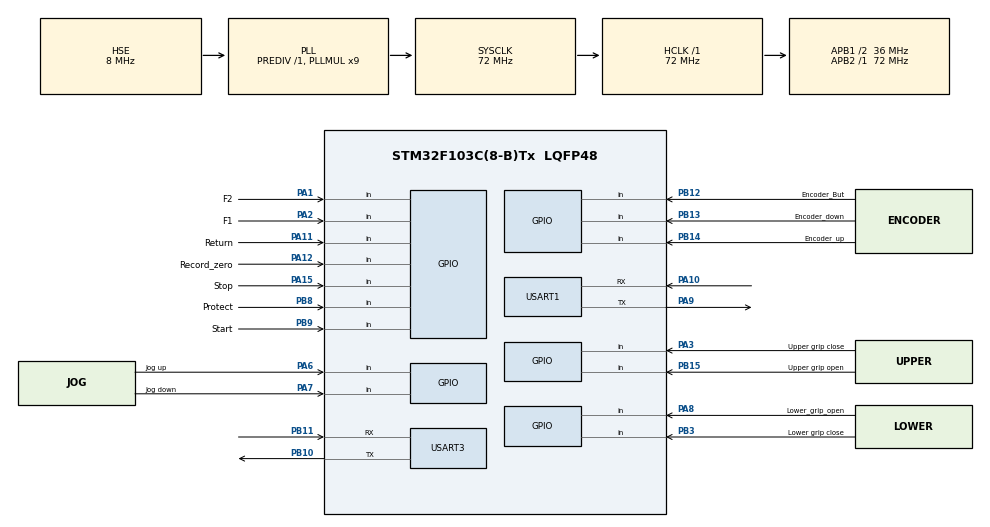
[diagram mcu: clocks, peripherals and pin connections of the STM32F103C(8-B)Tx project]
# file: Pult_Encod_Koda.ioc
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Dma.Request0=TIM4_UP
Dma.Request1=TIM4_CH1
Dma.TIM4_CH1.1.Direction=DMA_PERIPH_TO_MEMORY
Dma.TIM4_CH1.1.Instance=DMA1_Channel1
Dma.TIM4_CH1.1.MemDataAlignment=DMA_MDATAALIGN_HALFWORD
Dma.TIM4_CH1.1.MemInc=DMA_MINC_ENABLE
Dma.TIM4_CH1.1.Mode=DMA_CIRCULAR
Dma.TIM4_CH1.1.PeriphDataAlignment=DMA_PDATAALIGN_HALFWORD
Dma.TIM4_CH1.1.PeriphInc=DMA_PINC_DISABLE
Dma.TIM4_CH1.1.Priority=DMA_PRIORITY_LOW
Dma.TIM4_UP.0.Direction=DMA_PERIPH_TO_MEMORY
Dma.TIM4_UP.0.Instance=DMA1_Channel7
Dma.TIM4_UP.0.MemDataAlignment=DMA_MDATAALIGN_HALFWORD
Dma.TIM4_UP.0.MemInc=DMA_MINC_ENABLE
Dma.TIM4_UP.0.Mode=DMA_CIRCULAR
Dma.TIM4_UP.0.PeriphDataAlignment=DMA_PDATAALIGN_HALFWORD
Dma.TIM4_UP.0.PeriphInc=DMA_PINC_DISABLE
Dma.TIM4_UP.0.Priority=DMA_PRIORITY_LOW
Mcu.Family=STM32F1
Mcu.Name=STM32F103C(8-B)Tx
Mcu.Package=LQFP48
NVIC.DMA1_Channel1_IRQn=true\:0\:0\:false\:false\:true\:false\:true\:true
NVIC.DMA1_Channel7_IRQn=true\:0\:0\:false\:false\:true\:false\:true\:true
NVIC.PriorityGroup=NVIC_PRIORITYGROUP_4
NVIC.TIM3_IRQn=true\:0\:0\:false\:false\:true\:true\:true\:true
NVIC.USART1_IRQn=true\:1\:0\:true\:false\:true\:true\:true\:true
NVIC.USART3_IRQn=true\:1\:0\:true\:false\:true\:true\:true\:true
PA1.GPIO_Label=F2
PA1.Signal=GPIO_Input
PA10.Mode=Asynchronous
PA10.Signal=USART1_RX
PA11.GPIO_Label=Return
PA11.Signal=GPIO_Input
PA12.GPIO_Label=Record_zero
PA12.Signal=GPIO_Input
PA13.Mode=Serial_Wire
PA13.Signal=SYS_JTMS-SWDIO
PA14.Mode=Serial_Wire
PA14.Signal=SYS_JTCK-SWCLK
PA15.GPIO_Label=Stop
PA15.Signal=GPIO_Input
PA2.GPIO_Label=F1
PA2.Signal=GPIO_Input
PA3.GPIO_Label=Upper grip close
PA3.GPIO_Mode=GPIO_MODE_INPUT
PA3.GPIO_PuPd=GPIO_PULLUP
PA3.Signal=GPIO_Input
PA6.GPIO_Label=Jog up
PA6.GPIO_Mode=GPIO_MODE_INPUT
PA6.GPIO_PuPd=GPIO_PULLUP
PA6.Signal=GPIO_Input
PA7.GPIO_Label=Jog down
PA7.GPIO_Mode=GPIO_MODE_INPUT
PA7.GPIO_PuPd=GPIO_PULLUP
PA7.Signal=GPIO_Input
PA8.GPIO_Label=Lower_grip_open
PA8.GPIO_Mode=GPIO_MODE_INPUT
PA8.GPIO_PuPd=GPIO_PULLUP
PA8.Signal=GPIO_Input
PA9.Mode=Asynchronous
PA9.Signal=USART1_TX
PB10.Mode=Asynchronous
PB10.Signal=USART3_TX
PB11.Mode=Asynchronous
PB11.Signal=USART3_RX
PB12.GPIO_Label=Encoder_But
PB12.GPIO_PuPd=GPIO_PULLUP
PB12.Signal=GPIO_Input
PB13.GPIO_Label=Encoder_down
PB13.Signal=GPIO_Input
PB14.GPIO_Label=Encoder_up
PB14.Signal=GPIO_Input
PB15.GPIO_Label=Upper grip open
PB15.GPIO_Mode=GPIO_MODE_INPUT
PB15.GPIO_PuPd=GPIO_PULLUP
PB15.Signal=GPIO_Input
PB3.GPIO_Label=Lower grip close
PB3.GPIO_Mode=GPIO_MODE_INPUT
PB3.GPIO_PuPd=GPIO_PULLUP
PB3.Signal=GPIO_Input
PB8.GPIO_Label=Protect
PB8.Signal=GPIO_Input
PB9.GPIO_Label=Start
PB9.Signal=GPIO_Input
PD0-OSC_IN.Mode=HSE-External-Oscillator
PD0-OSC_IN.Signal=RCC_OSC_IN
PD1-OSC_OUT.Mode=HSE-External-Oscillator
PD1-OSC_OUT.Signal=RCC_OSC_OUT
ProjectManager.HeapSize=0x200
ProjectManager.StackSize=0x400
ProjectManager.TargetToolchain=STM32CubeIDE
RCC.AHBFreq_Value=72000000
RCC.APB1CLKDivider=RCC_HCLK_DIV2
RCC.APB1Freq_Value=36000000
RCC.APB1TimFreq_Value=72000000
RCC.APB2Freq_Value=72000000
RCC.APB2TimFreq_Value=72000000
RCC.HCLKFreq_Value=72000000
RCC.PLLMUL=RCC_PLL_MUL9
RCC.PLLSourceVirtual=RCC_PLLSOURCE_HSE
RCC.SYSCLKFreq_VALUE=72000000
RCC.SYSCLKSource=RCC_SYSCLKSOURCE_PLLCLK
RCC.USBFreq_Value=72000000
TIM3.Period=49
TIM3.Prescaler=71
TIM4.Channel-PWM\ Generation1\ No\ Output=TIM_CHANNEL_1
TIM4.Period=499
TIM4.Prescaler=7199
TIM4.Pulse-PWM\ Generation1\ No\ Output=250
USART1.VirtualMode=VM_ASYNC
USART3.VirtualMode=VM_ASYNC
VP_TIM3_VS_ClockSourceINT.Mode=Internal
VP_TIM4_VS_ClockSourceINT.Mode=Internal
VP_TIM4_VS_no_output1.Mode=PWM Generation1 No Output
board=custom

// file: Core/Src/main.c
/* USER CODE BEGIN Header */
/**
 ******************************************************************************
 */
/* USER CODE END Header */
#include "main.h"

/* USER CODE BEGIN Includes */
#include "mb.h"
#include "mbport.h"
#include "mt_port.h"
#include "tjc_usart_hmi.h"
#include <stdbool.h>
#include <math.h>
#include <limits.h>
#define SIZE 1
/* USER CODE END Includes */

/* USER CODE BEGIN PD */
typedef enum {
    STATE_POWER_ON,
    STATE_SEND_TO_SCREEN,
    STATE_SCREEN_POLLING,
    STATE_ADDT_SEND_CMD,
    STATE_ADDT_WAIT_FE,
    STATE_ADDT_SEND_DATA,
    STATE_ADDT_WAIT_DATA_DONE
} SystemState_t;

#define HISTORY_LEN 320

#define TJC_CMD_HEADER_0  0x55
#define TJC_CMD_HEADER_1  0xAA

// --- ВОЗВРАЩАЕМ ИСХОДНУЮ АДРЕСАЦИЮ ---
#define REG_INPUT_START 0x4000
#define REG_INPUT_NREGS 3

#define REG_HOLDING_START   0x1000
#define REG_HOLDING_NREGS   8

#define REG_DISPLAY_START   0x2000
#define REG_DISPLAY_NREGS   1
// -------------------------------------

#define PORT_A_MASK  0x99CE
#define PORT_A_INPUT_MASK  (PORT_A_MASK & ~((1 << 6) | (1 << 7)))
#define PORT_B_MASK  0xF308

#define ENCODER_A_BIT   (1 << 14)
#define ENCODER_B_BIT   (1 << 13)
#define ENCODER_BTN_BIT (1 << 12)
#define ENCODER_MASK    (ENCODER_A_BIT | ENCODER_B_BIT)
#define PORT_B_BUTTON_MASK  (PORT_B_MASK & ~ENCODER_MASK)

#define GRAPH_WIDTH 320

// Антидребезг кнопок (мс). Опрос портов TIM4/DMA — 1 кГц
#define DEBOUNCE_MS 20

/* === КРИТИЧЕСКИЕ СЕКЦИИ: НЕ ИСПОЛЬЗОВАТЬ устаревшие макросы!
   Раньше здесь были CRITICAL_SECTION_ENTER/EXIT через голый
   __disable_irq/__enable_irq — они ломались при вложенных вызовах
   (второй EXIT включал IRQ раньше времени). Для защиты разделяемых
   данных ISR ↔ основной цикл используйте:
     #include "mt_port.h"
     EnterCriticalSection();   // учитывает вложенность по PRIMASK
     ...
     ExitCriticalSection();
   Реализация: Modules/modbus/port/mt_port.c. */

// === ВОЛАТИЛЬНЫЕ ПЕРЕМЕННЫЕ (общие между прерываниями и основным циклом) ===
static volatile int16_t fast_cmd_value = 0;
static volatile uint8_t fast_btn_pressed = 0;
static volatile uint8_t encoder_btn_pressed = 0;
/* USER CODE END PD */

/* USER CODE BEGIN PM */
typedef union {
    float f;
    uint32_t u32;
    struct {
        uint16_t lo;
        uint16_t hi;
    } words;
} FloatUnion_t;
/* USER CODE END PM */

TIM_HandleTypeDef htim3;
TIM_HandleTypeDef htim4;
DMA_HandleTypeDef hdma_tim4_up;
DMA_HandleTypeDef hdma_tim4_ch1;

UART_HandleTypeDef huart1;
UART_HandleTypeDef huart3;

/* USER CODE BEGIN PV */
static volatile uint8_t tjc_visible_flags = 0x07; // Биты 0,1,2 = c0,c1,c2 (все видны по умолчанию)
static uint8_t graph_prev_visible[3] = {0, 0, 0};

// История для 3-х графиков
static float graph_history[3][HISTORY_LEN];
static uint16_t graph_head[3] = {0, 0, 0};
static uint16_t graph_count[3] = {0, 0, 0};

// Машинная логика addt
static uint8_t redraw_queue = 0;
static int8_t current_redraw_ch = -1;
static uint8_t addt_busy = 0;

/* These flags are set only by ProcessTjcRx(), which is called from the main
   loop. The USART3 IRQ only appends bytes to the ring buffer. */
static uint8_t tjc_addt_fe_received = 0;
static uint8_t tjc_addt_fd_received = 0;
static uint8_t tjc_rx_parser_state = 0;
static uint8_t tjc_rx_command_channel = 0;

// Глобальные zoom и offset (перенесены из функции)
static float zoom[3] = {1.0f, 1.0f, 1.0f};
static float offset[3] = {0.0f, 0.0f, 0.0f};

volatile uint16_t input_buffer_A[SIZE];
volatile uint16_t input_buffer_B[SIZE];

uint16_t last_portA = 0;
uint16_t last_portB = 0;

static uint8_t encoder_prev_state = 0;
static uint8_t encoder_initialized = 0;
static volatile int8_t encoder_value = 0;

/* === ИСПРАВЛЕНИЕ: диагностика пропущенных переходов энкодера.
   Счётчик невалидных transition-кодов (00->11, 01->10, 10->01, 11->00 и т. п.).
   Для JTAG/SWD отладки доступен напрямую как глобальный символ;
   в Modbus не выводится, чтобы не расширять карту регистров. */
volatile uint32_t encoder_error_count = 0U;

static SystemState_t currentState = STATE_POWER_ON;

static volatile uint16_t usRegHoldingBuf[REG_HOLDING_NREGS];

// === Float переменные для Modbus (IEEE 754, 2 регистра на float) ===
static volatile FloatUnion_t holdingFloat0;
static volatile FloatUnion_t holdingFloat1;
static volatile FloatUnion_t holdingFloat2;
static volatile FloatUnion_t holdingFloat3;

static volatile uint16_t display_value = 0;

/* === Фиксация результата испытания: L и D в момент максимума силы ===
   Каналы (см. tools/modbus_debug/README.md):
     0x1000-01 (holdingFloat0) = перемещение L
     0x1002-03 (holdingFloat1) = сила F
     0x1004-05 (holdingFloat2) = деформация D
   Логика: пока сила растёт — запоминаем максимум и соответствующие ему
   L и D. Как только сила упала после значимого максимума (срыв/разрыв) —
   результат фиксируется и на экран больше не обновляется. */
/* Порог «испытание идёт». Раньше был 0.5 — при разрыве тонких материалов
   (пик F = 0.2) срыв детектировался верно, но фиксация блокировалась этим
   порогом, и экран продолжал показывать текущие L/D при F = 0. Порог снижен
   до уровня, заведомо превышающего шум Тензо датчика у нуля. */
#define F_PEAK_MIN_FORCE   0.02f    /* ниже — испытание не началось, пик не считаем */
#define F_PEAK_DROP_FRAC   0.02f    /* спад на 2% от максимума = срыв */
/* Нижняя граница допуска срыва. Раньше была 0.05 — при малой силе она
   раздувала «плато» у максимума: при Fmax = 0.2 допуск составлял 25% пика,
   и L/D продолжали обновляться ещё ~20% пути после разрыва. */
#define F_PEAK_DROP_ABS    0.005f   /* ...но не менее этой абсолютной величины */

static volatile float   f_peak_value   = 0.0f;  /* максимум силы */
static volatile float   f_peak_l_value = 0.0f;  /* перемещение при максимуме силы */
static volatile float   f_peak_d_value = 0.0f;  /* деформация при максимуме силы */
static volatile uint8_t f_peak_locked  = 0U;    /* 1 = результат зафиксирован */
/* USER CODE END PV */

void SystemClock_Config(void);
static void MX_GPIO_Init(void);
static void MX_DMA_Init(void);
static void MX_USART3_UART_Init(void);
static void MX_USART1_UART_Init(void);
static void MX_TIM4_Init(void);
static void MX_TIM3_Init(void);
/* USER CODE BEGIN PFP */
static void TjcCommunicationInit(void);
extern void intToStr(int num, char* str);
extern void uart_send_char(char ch);
extern void uart_send_string(char* str);
extern void ProcessButtons(void);
extern void ProcessEncoder(uint16_t current_B_raw);
extern uint8_t tjc_flush_tx(void);
extern uint8_t tjc_tx_is_busy(void);
extern void tjc_discard_pending_tx(void);

/*
 * The RX ring buffer has exactly one consumer.  TJC control frames are
 * decoded here, while 0xFE/0xFD answers for addt are retained as flags.
 * Consequently, an interface command that arrives while addt is pending is
 * no longer discarded byte by byte by a second consumer.
 */
/*
 * Reset the complete software RX state before arming USART3. It is called
 * once after MX_USART3_UART_Init() and may be reused after a deliberate TJC
 * communication recovery.
 */
static void TjcCommunicationInit(void)
{
    initRingBuffer();
    tjc_rx_parser_state = 0U;
    tjc_rx_command_channel = 0U;
    tjc_addt_fe_received = 0U;
    tjc_addt_fd_received = 0U;

    /* HAL_UART_RxCpltCallback() rearms this one-byte reception continuously. */
    if (HAL_UART_Receive_IT(&TJC_UART, RxBuffer, 1U) != HAL_OK) {
        Error_Handler();
    }
}

static void ProcessTjcRx(void)
{
    while (getRingBufferLength() != 0U) {
        const uint8_t byte = read1ByteFromRingBuffer(0U);
        deleteRingBuffer(1U);

        switch (tjc_rx_parser_state) {
        case 0U:
            if (byte == TJC_CMD_HEADER_0) {
                tjc_rx_parser_state = 1U;
            } else if (byte == 0xFEU) {
                tjc_addt_fe_received = 1U;
            } else if (byte == 0xFDU) {
                tjc_addt_fd_received = 1U;
            }
            break;

        case 1U:
            if (byte == TJC_CMD_HEADER_1) {
                tjc_rx_parser_state = 2U;
            } else if (byte == TJC_CMD_HEADER_0) {
                /* It can be the first byte of a new frame. */
                tjc_rx_parser_state = 1U;
            } else {
                tjc_rx_parser_state = 0U;
                if (byte == 0xFEU) {
                    tjc_addt_fe_received = 1U;
                } else if (byte == 0xFDU) {
                    tjc_addt_fd_received = 1U;
                }
            }
            break;

        case 2U:
            tjc_rx_command_channel = byte;
            tjc_rx_parser_state = 3U;
            break;

        default: /* tjc_rx_parser_state == 3 */
            if (tjc_rx_command_channel <= 2U) {
                const uint8_t mask =
                    (uint8_t)(1U << tjc_rx_command_channel);
                const uint8_t old_flags = tjc_visible_flags;

                if (byte != 0U) {
                    tjc_visible_flags |= mask;
                    if ((old_flags & mask) == 0U) {
                        redraw_queue |= mask;
                    }
                } else {
                    tjc_visible_flags &= (uint8_t)~mask;
                }
            }
            tjc_rx_parser_state = 0U;
            break;
        }
    }
}

static float SanitiseFloat(float value)
{
    return isfinite(value) ? value : 0.0f;
}

/* Виджетам TJC (x0..x2) соответствует ТРИ знака после запятой, поэтому на
   экран уходят тысячные доли (value * TJC_VALUE_SCALE).
   ВАЖНО: число знаков у виджета и этот множитель обязаны совпадать, иначе
   экран показывает значения, отличающиеся в 10/100/1000 раз. Проверено на
   стенде (V3.0.HMI): при scale=10 экран делил val на 1000, то есть виджеты
   имели vvs1=3 — L=10000 отображалось как «100.000».
   Меняется в одном месте: 1 знак -> 10, 2 знака -> 100, 3 знака -> 1000.
   Проверка масштаба: записать L=10000 / F=1000 / D=100 и увидеть на экране
   «10000.000» / «1000.000» / «100.000». */
#define TJC_VALUE_DECIMALS  3
#if (TJC_VALUE_DECIMALS == 3)
#define TJC_VALUE_SCALE     (1000.0f)
#elif (TJC_VALUE_DECIMALS == 2)
#define TJC_VALUE_SCALE     (100.0f)
#else
#define TJC_VALUE_SCALE     (10.0f)
#endif

static int FloatToTjcValue(float value)
{
    if (!isfinite(value)) {
        return 0;
    }
    if (value >= ((float)INT_MAX / TJC_VALUE_SCALE)) {
        return INT_MAX;
    }
    if (value <= ((float)INT_MIN / TJC_VALUE_SCALE)) {
        return INT_MIN;
    }
    return (int)(value * TJC_VALUE_SCALE);
}

static uint8_t GraphValueToByte(float value, float channel_offset,
                                float channel_zoom, int channel)
{
    if (!isfinite(value) || !isfinite(channel_offset) ||
        !isfinite(channel_zoom)) {
        return 128U;
    }

    const float scaled = (value - channel_offset) * channel_zoom;
    if (scaled >= (float)(127 - channel)) {
        return 255U;
    }
    if (scaled <= (float)(-128 - channel)) {
        return 0U;
    }
    return (uint8_t)(128 + (int)scaled + channel);
}
/* Записать float в два регистра (старшее слово первым) — для диагностики */
static void PeakFloatToRegs(uint16_t *dst, float value)
{
    FloatUnion_t fu;
    fu.f = SanitiseFloat(value);
    dst[0] = (uint16_t)(fu.u32 >> 16);
    dst[1] = (uint16_t)(fu.u32 & 0xFFFFU);
}

/* Отслеживание максимума силы и фиксация L/D в точке максимума.
   Вызывается в ГЛАВНОМ цикле (чаще, чем обновление экрана), чтобы не
   пропустить момент срыва. */
static void TrackForcePeak(void)
{
    const float current_f = SanitiseFloat(holdingFloat1.f);  /* сила, 0x1002 */
    const float current_l = SanitiseFloat(holdingFloat0.f);  /* перемещение, 0x1000 */
    const float current_d = SanitiseFloat(holdingFloat2.f);  /* деформация, 0x1004 */

    if (f_peak_locked != 0U) {
        return;                     /* результат уже зафиксирован */
    }

    if (current_f > f_peak_value) {
        f_peak_value = current_f;   /* новый максимум силы */
    }

    /* L и D берём из точки максимума. Пока сила удерживается у максимума
       в пределах допуска срыва — продолжаем обновлять L/D: мастер может
       присылать регистры несколькими кадрами, и тогда значения не
       рассинхронизируются с силой. */
    {
        float drop = f_peak_value * F_PEAK_DROP_FRAC;
        if (drop < F_PEAK_DROP_ABS) {
            drop = F_PEAK_DROP_ABS;
        }

        if (current_f >= (f_peak_value - drop)) {
            f_peak_l_value = current_l;
            f_peak_d_value = current_d;
            return;
        }

        /* Сила упала заметно ниже максимума. Фиксируем ТОЛЬКО если
           испытание реально шло (максимум значимый) — иначе шум у нуля
           замораживал бы экран. */
        if (f_peak_value > F_PEAK_MIN_FORCE) {
            f_peak_locked = 1U;
        }
    }
}

/* Сброс зафиксированного результата — перед новым испытанием */
static void ResetForcePeak(void)
{
    f_peak_value   = 0.0f;
    f_peak_l_value = 0.0f;
    f_peak_d_value = 0.0f;
    f_peak_locked  = 0U;
}

void SwitchTechnology_Logic(void) {
    char txt_buf[12];
    static uint32_t lastSendTime = 0;
    float vals[3] = {
        SanitiseFloat(holdingFloat0.f),
        SanitiseFloat(holdingFloat1.f),
        SanitiseFloat(holdingFloat2.f)
    };
    static uint32_t addt_timeout = 0;

    ProcessButtons();
    (void)eMBPoll();
    ProcessTjcRx();
    TrackForcePeak();   /* фиксация L/D при максимуме силы — до отрисовки */

    switch (currentState) {
        case STATE_POWER_ON:
            lastSendTime = HAL_GetTick();
            currentState = STATE_SEND_TO_SCREEN;
            break;

        case STATE_SEND_TO_SCREEN:
        {
            if (tjc_tx_is_busy()) break;
            uint8_t needs_clear[3] = {0, 0, 0};

            for (int i = 0; i < 3; i++) {
                uint8_t is_visible = (tjc_visible_flags & (1 << i)) ? 1 : 0;

                if (!is_visible && graph_prev_visible[i]) {
                    uart_send_string("cle 1,");
                    intToStr(i, txt_buf);
                    uart_send_string(txt_buf);
                    uart_send_char(0xff); uart_send_char(0xff); uart_send_char(0xff);
                    graph_prev_visible[i] = 0;
                } else if (is_visible && !graph_prev_visible[i]) {
                    graph_prev_visible[i] = 1;
                    // ИСПРАВЛЕНИЕ: при возврате канала на экран перерисовываем всю историю
                    redraw_queue |= (1 << i);
                }

                graph_history[i][graph_head[i]] = vals[i];
                graph_head[i] = (graph_head[i] + 1) % HISTORY_LEN;
                if (graph_count[i] < HISTORY_LEN) graph_count[i]++;

                if (is_visible && graph_count[i] > 2) {
                    float max_val = -1e30f;
                    float min_val = 1e30f;
                    for (int j = 0; j < graph_count[i]; j++) {
                        uint16_t idx = (graph_head[i] - graph_count[i] + j + HISTORY_LEN) % HISTORY_LEN;
                        float h = graph_history[i][idx];
                        if (h > max_val) max_val = h;
                        if (h < min_val) min_val = h;
                    }

                    float amplitude = max_val - min_val;
                    if (amplitude < 0.001f) amplitude = 0.001f;

                    float target_offset = (max_val + min_val) / 2.0f;
                    float target_zoom = 240.0f / amplitude;
                    if (target_zoom < 0.001f) target_zoom = 0.001f;

                    // ИСПРАВЛЕНИЕ: Гистерезис 25% (0.8 и 1.25). Запрещает "съезжать" масштабу по незначительным изменениям.
                    if (target_zoom < zoom[i] * 0.8f || target_zoom > zoom[i] * 1.25f ||
                        target_offset < offset[i] - amplitude * 0.2f ||
                        target_offset > offset[i] + amplitude * 0.2f) {

                        zoom[i] = target_zoom;
                        offset[i] = target_offset;
                        needs_clear[i] = 1;
                    }
                }
            }

            /* После срыва показываем ЗАФИКСИРОВАННЫЙ результат испытания:
               максимум силы и соответствующие ему перемещение L и деформацию D. */
            tjc_send_val("x0", "val", FloatToTjcValue(f_peak_locked ? f_peak_l_value : holdingFloat0.f));
            tjc_send_val("x1", "val", FloatToTjcValue(f_peak_locked ? f_peak_value   : holdingFloat1.f));
            tjc_send_val("x2", "val", FloatToTjcValue(f_peak_locked ? f_peak_d_value : holdingFloat2.f));
            tjc_send_val("x3", "val", FloatToTjcValue(holdingFloat3.f));

            {
                char num_str[6];
                int display_val;
                if (encoder_btn_pressed) display_val = encoder_value;
                else display_val = (int)display_value;
                intToStr(display_val, num_str);
                tjc_send_txt("t9", "txt", num_str);
            }

            for (int i = 0; i < 3; i++) {
                if (!(tjc_visible_flags & (1 << i))) continue;

                if (needs_clear[i]) {
                    if (!addt_busy) {
                        redraw_queue |= (1 << i);
                    }
                    // ИСПРАВЛЕНИЕ: Пока ждёт перерисовки, НЕ ОТПРАВЛЯЕМ add! Иначе будут смешаны масштабы.
                } else {
                    const uint8_t graph_value =
                        GraphValueToByte(vals[i], offset[i], zoom[i], i);

                    uart_send_string("add 1,");
                    intToStr(i, txt_buf);
                    uart_send_string(txt_buf);
                    uart_send_char(',');
                    intToStr((int)graph_value, txt_buf);
                    uart_send_string(txt_buf);
                    uart_send_char(0xff); uart_send_char(0xff); uart_send_char(0xff);
                }
            }

            if (tjc_flush_tx() != 0U) {
                lastSendTime = HAL_GetTick();
                currentState = STATE_SCREEN_POLLING;
            }
            break;
        }

        // --- Неблокирующий процесс addt ---
        case STATE_ADDT_SEND_CMD:
            if (tjc_tx_is_busy()) break;
            /* addt owns the TJC serial stream. Discard normal draw commands
               queued before the state transition; raw graph bytes must not be
               delayed behind them. */
            tjc_discard_pending_tx();
            if (!(tjc_visible_flags & (1 << current_redraw_ch)) || graph_count[current_redraw_ch] == 0) {
                addt_busy = 0;
                currentState = STATE_SCREEN_POLLING;
                break;
            }

            uart_send_string("cle 1,");
            intToStr(current_redraw_ch, txt_buf);
            uart_send_string(txt_buf);
            uart_send_char(0xff); uart_send_char(0xff); uart_send_char(0xff);

            uart_send_string("addt 1,");
            intToStr(current_redraw_ch, txt_buf);
            uart_send_string(txt_buf);
            uart_send_char(',');
            intToStr(graph_count[current_redraw_ch], txt_buf);
            uart_send_string(txt_buf);
            uart_send_char(0xff); uart_send_char(0xff); uart_send_char(0xff);

            tjc_addt_fe_received = 0U;
            tjc_addt_fd_received = 0U;
            if (tjc_flush_tx() != 0U) {
                addt_timeout = HAL_GetTick();
                currentState = STATE_ADDT_WAIT_FE;
            }
            break;

        case STATE_ADDT_WAIT_FE:
            if (tjc_addt_fe_received != 0U) {
                tjc_addt_fe_received = 0U;
                currentState = STATE_ADDT_SEND_DATA;
            } else if ((HAL_GetTick() - addt_timeout) > 200U) {
                addt_busy = 0U;
                currentState = STATE_SCREEN_POLLING;
            }
            break;

        case STATE_ADDT_SEND_DATA:
            if (tjc_tx_is_busy()) break;
            for (int i = 0; i < graph_count[current_redraw_ch]; i++) {
                const uint16_t idx = (uint16_t)((graph_head[current_redraw_ch] -
                    graph_count[current_redraw_ch] + i + HISTORY_LEN) % HISTORY_LEN);
                const uint8_t graph_value = GraphValueToByte(
                    graph_history[current_redraw_ch][idx],
                    offset[current_redraw_ch], zoom[current_redraw_ch],
                    current_redraw_ch);
                uart_send_char((char)graph_value);
            }
            if (tjc_flush_tx() != 0U) {
                addt_timeout = HAL_GetTick();
                currentState = STATE_ADDT_WAIT_DATA_DONE;
            }
            break;

        case STATE_ADDT_WAIT_DATA_DONE:
            if (tjc_tx_is_busy() == 0U) {
                addt_busy = 1U; /* Data has been sent; wait for 0xFD. */
                addt_timeout = HAL_GetTick();
                currentState = STATE_SCREEN_POLLING;
            } else if ((HAL_GetTick() - addt_timeout) > 500U) {
                addt_busy = 0U;
                currentState = STATE_SCREEN_POLLING;
            }
            break;

        // --- Фоновые задачи ---
        case STATE_SCREEN_POLLING:
        {
            if (addt_busy != 0U) {
                if (tjc_addt_fd_received != 0U) {
                    tjc_addt_fd_received = 0U;
                    addt_busy = 0U;
                    lastSendTime = HAL_GetTick();
                } else if ((HAL_GetTick() - addt_timeout) > 1000U) {
                    addt_busy = 0U;
                } else {
                    /* Do not start a normal screen update while addt owns the
                       display buffer, but keep processing TJC RX above. */
                    break;
                }
            }

            if (redraw_queue != 0U) {
                current_redraw_ch = (int8_t)__builtin_ctz((unsigned int)redraw_queue);
                redraw_queue &= (uint8_t)~(1U << current_redraw_ch);
                currentState = STATE_ADDT_SEND_CMD;
                break;
            }

            if ((HAL_GetTick() - lastSendTime) >= 100) {
                currentState = STATE_SEND_TO_SCREEN;
            }
            break;
        }

        default:
            currentState = STATE_POWER_ON;
            break;
    }
}
/* USER CODE END PFP */

int main(void)
{

  /* MCU Configuration--------------------------------------------------------*/

  /* Reset of all peripherals, Initializes the Flash interface and the Systick. */
  HAL_Init();

  /* Configure the system clock */
  SystemClock_Config();

  /* Initialize all configured peripherals */
  MX_GPIO_Init();
  MX_DMA_Init();
  MX_USART3_UART_Init();
  MX_USART1_UART_Init();
  MX_TIM4_Init();
  MX_TIM3_Init();
  /* USER CODE BEGIN 2 */
    MT_PORT_SetTimerModule(&htim3);
    MT_PORT_SetUartModule(&huart1);

    /* USART3 and its NVIC are ready after MX_USART3_UART_Init(). Clear the
       ring buffer and arm RX before the main loop or any TJC TX command. */
    TjcCommunicationInit();

    eMBErrorCode eStatus;
    eStatus = eMBInit(MB_RTU, 0x0A, 0, 115200, MB_PAR_NONE);
    if (eStatus != MB_ENOERR) {
        Error_Handler();
    }
    /* FC17 (Report Slave ID): данные должны быть заданы до eMBEnable(),
       иначе ответ будет синтаксически корректным, но пустым. */
    eStatus = eMBSetSlaveID(0x0A, TRUE, NULL, 0);
    if (eStatus != MB_ENOERR) {
        Error_Handler();
    }
    eStatus = eMBEnable();
    if (eStatus != MB_ENOERR) {
        Error_Handler();
    }

    usRegHoldingBuf[0] = 255;

    /* TIM4 DMA channels are configured by CubeMX in DMA_CIRCULAR mode.
       A length-one transfer captures GPIO IDR at every TIM4 event; it is
       repeated by DMA hardware and must not be restarted from DMA TC IRQ. */
    if (HAL_DMA_Start(&hdma_tim4_up, (uint32_t)&GPIOA->IDR,
                      (uint32_t)input_buffer_A, SIZE) != HAL_OK) {
        Error_Handler();
    }
    if (HAL_DMA_Start(&hdma_tim4_ch1, (uint32_t)&GPIOB->IDR,
                      (uint32_t)input_buffer_B, SIZE) != HAL_OK) {
        Error_Handler();
    }

    /* No transfer-complete interrupt: the circular transfers need no CPU
       service each 1 ms. */
    __HAL_TIM_ENABLE_DMA(&htim4, TIM_DMA_UPDATE);
    __HAL_TIM_ENABLE_DMA(&htim4, TIM_DMA_CC1);

    if (HAL_TIM_Base_Start(&htim4) != HAL_OK) {
        Error_Handler();
    }
  /* USER CODE END 2 */

  /* Infinite loop */
  /* USER CODE BEGIN WHILE */
    while (1) {
        SwitchTechnology_Logic();
    /* USER CODE END WHILE */

    }
}

void SystemClock_Config(void)
{
  RCC_OscInitTypeDef RCC_OscInitStruct = {0};
  RCC_ClkInitTypeDef RCC_ClkInitStruct = {0};

  /** Initializes the RCC Oscillators according to the specified parameters
  * in the RCC_OscInitTypeDef structure.
  */
  RCC_OscInitStruct.OscillatorType = RCC_OSCILLATORTYPE_HSE;
  RCC_OscInitStruct.HSEState = RCC_HSE_ON;
  RCC_OscInitStruct.HSEPredivValue = RCC_HSE_PREDIV_DIV1;
  RCC_OscInitStruct.HSIState = RCC_HSI_ON;
  RCC_OscInitStruct.PLL.PLLState = RCC_PLL_ON;
  RCC_OscInitStruct.PLL.PLLSource = RCC_PLLSOURCE_HSE;
  RCC_OscInitStruct.PLL.PLLMUL = RCC_PLL_MUL9;
  if (HAL_RCC_OscConfig(&RCC_OscInitStruct) != HAL_OK)
  {
    Error_Handler();
  }

  /** Initializes the CPU, AHB and APB buses clocks
  */
  RCC_ClkInitStruct.ClockType = RCC_CLOCKTYPE_HCLK|RCC_CLOCKTYPE_SYSCLK
                              |RCC_CLOCKTYPE_PCLK1|RCC_CLOCKTYPE_PCLK2;
  RCC_ClkInitStruct.SYSCLKSource = RCC_SYSCLKSOURCE_PLLCLK;
  RCC_ClkInitStruct.AHBCLKDivider = RCC_SYSCLK_DIV1;
  RCC_ClkInitStruct.APB1CLKDivider = RCC_HCLK_DIV2;
  RCC_ClkInitStruct.APB2CLKDivider = RCC_HCLK_DIV1;

  if (HAL_RCC_ClockConfig(&RCC_ClkInitStruct, FLASH_LATENCY_2) != HAL_OK)
  {
    Error_Handler();
  }
}

static void MX_TIM3_Init(void)
{

  TIM_ClockConfigTypeDef sClockSourceConfig = {0};
  TIM_MasterConfigTypeDef sMasterConfig = {0};

  htim3.Instance = TIM3;
  htim3.Init.Prescaler = 71;
  htim3.Init.CounterMode = TIM_COUNTERMODE_UP;
  htim3.Init.Period = 49;
  htim3.Init.ClockDivision = TIM_CLOCKDIVISION_DIV1;
  htim3.Init.AutoReloadPreload = TIM_AUTORELOAD_PRELOAD_DISABLE;
  if (HAL_TIM_Base_Init(&htim3) != HAL_OK)
  {
    Error_Handler();
  }
  sClockSourceConfig.ClockSource = TIM_CLOCKSOURCE_INTERNAL;
  if (HAL_TIM_ConfigClockSource(&htim3, &sClockSourceConfig) != HAL_OK)
  {
    Error_Handler();
  }
  sMasterConfig.MasterOutputTrigger = TIM_TRGO_RESET;
  sMasterConfig.MasterSlaveMode = TIM_MASTERSLAVEMODE_DISABLE;
  if (HAL_TIMEx_MasterConfigSynchronization(&htim3, &sMasterConfig) != HAL_OK)
  {
    Error_Handler();
  }

}

static void MX_TIM4_Init(void)
{

  TIM_ClockConfigTypeDef sClockSourceConfig = {0};
  TIM_MasterConfigTypeDef sMasterConfig = {0};
  TIM_OC_InitTypeDef sConfigOC = {0};

  htim4.Instance = TIM4;
  htim4.Init.Prescaler = 71;
  htim4.Init.CounterMode = TIM_COUNTERMODE_UP;
  htim4.Init.Period = 999;
  htim4.Init.ClockDivision = TIM_CLOCKDIVISION_DIV1;
  htim4.Init.AutoReloadPreload = TIM_AUTORELOAD_PRELOAD_DISABLE;
  if (HAL_TIM_Base_Init(&htim4) != HAL_OK)
  {
    Error_Handler();
  }
  sClockSourceConfig.ClockSource = TIM_CLOCKSOURCE_INTERNAL;
  if (HAL_TIM_ConfigClockSource(&htim4, &sClockSourceConfig) != HAL_OK)
  {
    Error_Handler();
  }
  if (HAL_TIM_PWM_Init(&htim4) != HAL_OK)
  {
    Error_Handler();
  }
  sMasterConfig.MasterOutputTrigger = TIM_TRGO_RESET;
  sMasterConfig.MasterSlaveMode = TIM_MASTERSLAVEMODE_DISABLE;
  if (HAL_TIMEx_MasterConfigSynchronization(&htim4, &sMasterConfig) != HAL_OK)
  {
    Error_Handler();
  }
  sConfigOC.OCMode = TIM_OCMODE_PWM1;
  sConfigOC.Pulse = 250;
  sConfigOC.OCPolarity = TIM_OCPOLARITY_HIGH;
  sConfigOC.OCFastMode = TIM_OCFAST_DISABLE;
  if (HAL_TIM_PWM_ConfigChannel(&htim4, &sConfigOC, TIM_CHANNEL_1) != HAL_OK)
  {
    Error_Handler();
  }

}

static void MX_USART1_UART_Init(void)
{

  huart1.Instance = USART1;
  huart1.Init.BaudRate = 115200;
  huart1.Init.WordLength = UART_WORDLENGTH_8B;
  huart1.Init.StopBits = UART_STOPBITS_1;
  huart1.Init.Parity = UART_PARITY_NONE;
  huart1.Init.Mode = UART_MODE_TX_RX;
  huart1.Init.HwFlowCtl = UART_HWCONTROL_NONE;
  huart1.Init.OverSampling = UART_OVERSAMPLING_16;
  if (HAL_UART_Init(&huart1) != HAL_OK)
  {
    Error_Handler();
  }

}

static void MX_USART3_UART_Init(void)
{

  huart3.Instance = USART3;
  huart3.Init.BaudRate = 115200;
  huart3.Init.WordLength = UART_WORDLENGTH_8B;
  huart3.Init.StopBits = UART_STOPBITS_1;
  huart3.Init.Parity = UART_PARITY_NONE;
  huart3.Init.Mode = UART_MODE_TX_RX;
  huart3.Init.HwFlowCtl = UART_HWCONTROL_NONE;
  huart3.Init.OverSampling = UART_OVERSAMPLING_16;
  if (HAL_UART_Init(&huart3) != HAL_OK)
  {
    Error_Handler();
  }

}

static void MX_DMA_Init(void)
{

  /* DMA controller clock enable */
  __HAL_RCC_DMA1_CLK_ENABLE();

  /* DMA interrupt init */
  /* DMA1_Channel1_IRQn interrupt configuration */
  HAL_NVIC_SetPriority(DMA1_Channel1_IRQn, 0, 0);
  HAL_NVIC_EnableIRQ(DMA1_Channel1_IRQn);
  /* DMA1_Channel7_IRQn interrupt configuration */
  HAL_NVIC_SetPriority(DMA1_Channel7_IRQn, 0, 0);
  HAL_NVIC_EnableIRQ(DMA1_Channel7_IRQn);

}

static void MX_GPIO_Init(void)
{
  GPIO_InitTypeDef GPIO_InitStruct = {0};

  /* GPIO Ports Clock Enable */
  __HAL_RCC_GPIOD_CLK_ENABLE();
  __HAL_RCC_GPIOA_CLK_ENABLE();
  __HAL_RCC_GPIOB_CLK_ENABLE();

  /*Configure GPIO pins : F2_Pin F1_Pin Return_Pin Record_zero_Pin
                           Stop_Pin */
  GPIO_InitStruct.Pin = F2_Pin|F1_Pin|Return_Pin|Record_zero_Pin
                          |Stop_Pin;
  GPIO_InitStruct.Mode = GPIO_MODE_INPUT;
  GPIO_InitStruct.Pull = GPIO_NOPULL;
  HAL_GPIO_Init(GPIOA, &GPIO_InitStruct);

  /*Configure GPIO pins : Upper_grip_close_Pin Jog_up_Pin Jog_down_Pin Lower_grip_open_Pin */
  GPIO_InitStruct.Pin = Upper_grip_close_Pin|Jog_up_Pin|Jog_down_Pin|Lower_grip_open_Pin;
  GPIO_InitStruct.Mode = GPIO_MODE_INPUT;
  GPIO_InitStruct.Pull = GPIO_PULLUP;
  HAL_GPIO_Init(GPIOA, &GPIO_InitStruct);

  /*Configure GPIO pins : Encoder_But_Pin Upper_grip_open_Pin Lower_grip_close_Pin */
  GPIO_InitStruct.Pin = Encoder_But_Pin|Upper_grip_open_Pin|Lower_grip_close_Pin;
  GPIO_InitStruct.Mode = GPIO_MODE_INPUT;
  GPIO_InitStruct.Pull = GPIO_PULLUP;
  HAL_GPIO_Init(GPIOB, &GPIO_InitStruct);

  /*Configure GPIO pins : Encoder_down_Pin Encoder_up_Pin */
  GPIO_InitStruct.Pin = Encoder_down_Pin|Encoder_up_Pin;
  GPIO_InitStruct.Mode = GPIO_MODE_INPUT;
  GPIO_InitStruct.Pull = GPIO_PULLUP;
  HAL_GPIO_Init(GPIOB, &GPIO_InitStruct);

  /*Configure GPIO pins : Protect_Pin Start_Pin */
  GPIO_InitStruct.Pin = Protect_Pin|Start_Pin;
  GPIO_InitStruct.Mode = GPIO_MODE_INPUT;
  GPIO_InitStruct.Pull = GPIO_NOPULL;
  HAL_GPIO_Init(GPIOB, &GPIO_InitStruct);

}

/* USER CODE BEGIN 4 */
eMBErrorCode eMBRegInputCB(UCHAR *pucRegBuffer, USHORT usAddress, USHORT usNRegs) {
    eMBErrorCode eStatus = MB_ENOERR;
    int iRegIndex = (int)(usAddress - REG_INPUT_START);

    /* === ИСПРАВЛЕНИЕ: overflow-safe проверка границ.
       Вместо (addr + nregs <= end) с возможным 16-битным wraparound
       проверяем отдельно диапазон адреса и его длину. */
    if (usAddress >= REG_INPUT_START &&
        usAddress <  REG_INPUT_START + REG_INPUT_NREGS &&
        usNRegs > 0U &&
        usNRegs <= REG_INPUT_START + REG_INPUT_NREGS - usAddress &&
        iRegIndex >= 0) {
        /* Атомарное чтение 16-битного SRAM-слова на Cortex-M3 (LDRH):
           DMA пишет 16 бит, CPU читает 16 бит — единый bus-transaction,
           поэтому гонка «частично обновлённое слово» здесь невозможна.
           Критическая секция не нужна. */
        uint16_t local_A = input_buffer_A[0];
        uint16_t local_B = input_buffer_B[0];

        while (usNRegs > 0) {
            uint16_t usValue = 0;

            if (iRegIndex == 0) {
                usValue = (~local_A) & PORT_A_INPUT_MASK;
            }
            else if (iRegIndex == 1) {
                usValue = (~local_B) & PORT_B_BUTTON_MASK;
            }
            else if (iRegIndex == 2) {
                if (fast_btn_pressed) {
                    usValue = (uint16_t)fast_cmd_value;
                } else if (encoder_btn_pressed) {
                    usValue = (uint16_t)encoder_value;
                } else {
                    usValue = 0;
                }
            }

            *pucRegBuffer++ = (UCHAR)(usValue >> 8);
            *pucRegBuffer++ = (UCHAR)(usValue & 0xFF);

            iRegIndex++;
            usNRegs--;
        }
    } else {
        eStatus = MB_ENOREG;
    }
    return eStatus;
}

eMBErrorCode eMBRegHoldingCB(UCHAR *pucRegBuffer, USHORT usAddress,
        USHORT usNRegs, eMBRegisterMode eMode) {
    eMBErrorCode eStatus = MB_ENOERR;
    int iRegIndex;

    // 1. Специальный регистр 0x4002 — быстрая команда (int16).
    //    ИСПРАВЛЕНИЕ: 0x4000-0x4001 существуют ТОЛЬКО в пространстве Input Registers (ф. 04);
    //    в Holding-пространстве их нет — раньше здесь возвращались ложные нули.
    if (usAddress == 0x4002 && usNRegs == 1) {
        if (eMode == MB_REG_READ) {
            int16_t val = fast_cmd_value;
            *pucRegBuffer++ = (UCHAR)(val >> 8);
            *pucRegBuffer++ = (UCHAR)(val & 0xFF);
        } else {
            uint8_t high_byte = *pucRegBuffer++;
            uint8_t low_byte = *pucRegBuffer++;
            int16_t val = (int16_t)((high_byte << 8) | low_byte);

            fast_cmd_value = val;
            fast_btn_pressed = (val != 0) ? 1 : 0;
        }
        return MB_ENOERR;
    }

    // 1a. Диагностика фиксации результата (чтение): 0x3001 — locked,
    //     0x3002-03 — максимум силы F, 0x3004-05 — L при максимуме, 0x3006-07 — D
    {
        const uint16_t diag_reg_count = 7U; /* 0x3001..0x3007 включительно */
        if (usAddress >= 0x3001U &&
            usAddress <= 0x3001U + diag_reg_count - 1U &&
            usNRegs > 0U &&
            usNRegs <= (0x3001U + diag_reg_count - usAddress)) {
            if (eMode == MB_REG_READ) {
                const uint16_t first = (uint16_t)(usAddress - 0x3001U);
                uint16_t diag[7];
                diag[0] = (uint16_t)f_peak_locked;
                PeakFloatToRegs(&diag[1], f_peak_value);
                PeakFloatToRegs(&diag[3], f_peak_l_value);
                PeakFloatToRegs(&diag[5], f_peak_d_value);
                for (uint16_t i = 0; i < usNRegs; i++) {
                    *pucRegBuffer++ = (UCHAR)(diag[first + i] >> 8);
                    *pucRegBuffer++ = (UCHAR)(diag[first + i] & 0xFF);
                }
            }
            return MB_ENOERR;
        }
    }

    // 1b. Диагностический регистр 0x3000 (чтение): статус TJC
    if (usAddress == 0x3000 && usNRegs == 1) {
        if (eMode == MB_REG_READ) {
            uint16_t st = tjc_diag_status();
            *pucRegBuffer++ = (UCHAR)(st >> 8);
            *pucRegBuffer++ = (UCHAR)(st & 0xFF);
        }
        return MB_ENOERR;
    }

    // 2. Обработка регистра дисплея 0x2000
    if (usAddress == REG_DISPLAY_START && usNRegs == 1) {
        if (eMode == MB_REG_READ) {
            *pucRegBuffer++ = (UCHAR)(display_value >> 8);
            *pucRegBuffer++ = (UCHAR)(display_value & 0xFF);
        } else {
            uint8_t high_byte = *pucRegBuffer++;
            uint8_t low_byte = *pucRegBuffer++;
            uint16_t val = (uint16_t)((high_byte << 8) | low_byte);

            if (val <= 30) {
                display_value = val;
            }
        }
        return MB_ENOERR;
    }

    // 3. Обработка стандартных Holding Registers (начинаются с 0x1000)
    //    === ИСПРАВЛЕНИЕ: overflow-safe проверка границ ===
    if (usAddress >= REG_HOLDING_START &&
        usAddress <  REG_HOLDING_START + REG_HOLDING_NREGS &&
        usNRegs > 0U &&
        usNRegs <= REG_HOLDING_START + REG_HOLDING_NREGS - usAddress) {
        iRegIndex = (int) (usAddress - REG_HOLDING_START);

        switch (eMode) {
        case MB_REG_READ:
            while (usNRegs > 0) {
                *pucRegBuffer++ = (UCHAR) (usRegHoldingBuf[iRegIndex] >> 8);
                *pucRegBuffer++ = (UCHAR) (usRegHoldingBuf[iRegIndex] & 0xFF);
                iRegIndex++;
                usNRegs--;
            }
            break;

        case MB_REG_WRITE:
        {
            while (usNRegs > 0) {
                uint8_t high_byte = *pucRegBuffer++;
                uint8_t low_byte = *pucRegBuffer++;

                usRegHoldingBuf[iRegIndex] = (uint16_t)((high_byte << 8) | low_byte);
                iRegIndex++;
                usNRegs--;
            }

            // === ИСПРАВЛЕНИЕ: после ЛЮБОЙ записи пересчитываем все float из буфера ===
            // Раньше float обновлялся только при записи полной пары регистров,
            // из-за чего частичная запись давала рассинхрон буфера и float.
            holdingFloat0.u32 = ((uint32_t)usRegHoldingBuf[0] << 16) | usRegHoldingBuf[1];
            holdingFloat1.u32 = ((uint32_t)usRegHoldingBuf[2] << 16) | usRegHoldingBuf[3];
            holdingFloat2.u32 = ((uint32_t)usRegHoldingBuf[4] << 16) | usRegHoldingBuf[5];
            holdingFloat3.u32 = ((uint32_t)usRegHoldingBuf[6] << 16) | usRegHoldingBuf[7];
            break;
        }
        }
    } else {
        eStatus = MB_ENOREG;
    }
    return eStatus;
}

/*----------------------------------------------------------------------------*/
eMBErrorCode eMBRegCoilsCB(UCHAR * pucRegBuffer, USHORT usAddress, USHORT usNCoils,
                           eMBRegisterMode eMode)
{
    // В этом проекте катушки (Coils) не используются
    return MB_ENOREG;
}

/*----------------------------------------------------------------------------*/
eMBErrorCode eMBRegDiscreteCB(UCHAR *pucRegBuffer, USHORT usAddress,
        USHORT usNDiscrete)
{
    // В этом проекте дискретные входы (Discrete Inputs) не используются
    return MB_ENOREG;
}
void ProcessButtons(void) {
    /* Атомарное чтение 16-битных слов из DMA ring-buffer:
       Cortex-M3 LDRH делает одну 16-битную шину-транзакцию, поэтому
       одновременная запись DMA и чтение CPU не дают «частично обновлённого
       слова». Критическая секция здесь не нужна. */
    uint16_t raw_A = (~input_buffer_A[0]) & PORT_A_MASK;
    uint16_t raw_B = (~input_buffer_B[0]) & PORT_B_MASK;

    ProcessEncoder(raw_B);

    // === ИСПРАВЛЕНИЕ: антидребезг по времени — новое состояние порта принимается
    // только если оно держится без изменений не меньше DEBOUNCE_MS ===
    static uint16_t stable_A = 0;
    static uint16_t stable_B = 0;
    static uint16_t cand_A = 0;
    static uint16_t cand_B = 0;
    static uint32_t cand_since_A = 0;
    static uint32_t cand_since_B = 0;

    if (raw_A != cand_A) {
        cand_A = raw_A;
        cand_since_A = HAL_GetTick();
    } else if ((cand_A != stable_A) && ((HAL_GetTick() - cand_since_A) >= DEBOUNCE_MS)) {
        stable_A = cand_A;
    }

    if (raw_B != cand_B) {
        cand_B = raw_B;
        cand_since_B = HAL_GetTick();
    } else if ((cand_B != stable_B) && ((HAL_GetTick() - cand_since_B) >= DEBOUNCE_MS)) {
        stable_B = cand_B;
    }

    uint16_t current_A = stable_A;
    uint16_t current_B_raw = stable_B;

    // Используем корректную маску (включает кнопку PB12, исключает A/B энкодера)
    uint16_t current_B = current_B_raw & PORT_B_BUTTON_MASK;

    uint16_t pressed_A = current_A & (~last_portA);
    uint16_t pressed_B = current_B & (~last_portB);
    uint16_t released_A = last_portA & (~current_A);
    uint16_t released_B = last_portB & (~current_B);

    /* Сброс зафиксированного результата испытания — по нажатию ЛЮБОЙ кнопки
       пульта (раньше сбрасывали только «запись нуля» PA12 и «пуск» PB9, и
       оператору было неудобно искать нужную). Поворот энкодера сброса НЕ
       даёт: его сигналы A/B исключены из PORT_B_BUTTON_MASK. */
    if ((pressed_A | pressed_B) != 0U) {
        ResetForcePeak();
    }

    // === ИСПРАВЛЕНИЕ: обрабатываем ВСЕ нажатые кнопки (не только младший бит) ===
    uint16_t maskA = pressed_A;
    while (maskA) {
        int pin = __builtin_ctz(maskA);
        switch (pin) {
            case 1:  break;
            case 2:  break;
            /* Захваты: индикация только в p1/p3, поле p6 не трогаем. */
            case 3:  tjc_send_val("p1", "pic", 17); break;
            case 6:
                tjc_send_val("p6", "pic", 5); break;
            case 7:
                tjc_send_val("p6", "pic", 14); break;
                break;
            case 8:  tjc_send_val("p3", "pic", 22); break;
            case 11: tjc_send_val("p6", "pic", 12); break;
            case 12: tjc_send_val("p6", "pic", 13); ResetForcePeak(); break;
            case 15: tjc_send_val("p6", "pic", 4); break;
        }
        maskA &= (uint16_t)(maskA - 1);  // Сбрасываем младший установленный бит
    }

    /* Recalculate Jog from the stable level. Releasing one direction must
       not cancel the other direction if both buttons are held. The UP button
       has defined priority if both signals are active simultaneously. */
    if (((pressed_A | released_A) & ((1U << 6) | (1U << 7))) != 0U) {
        if ((current_A & (1U << 6)) != 0U) {
            fast_cmd_value = 5;
            fast_btn_pressed = 1U;
        } else if ((current_A & (1U << 7)) != 0U) {
            fast_cmd_value = -5;
            fast_btn_pressed = 1U;
        } else {
            fast_cmd_value = 0;
            fast_btn_pressed = 0U;
        }
    }

    if (released_B & (1 << 12)) {
        encoder_btn_pressed = 0; encoder_value = 0;
    }

    // === ИСПРАВЛЕНИЕ: обрабатываем ВСЕ нажатые кнопки (не только младший бит) ===
    uint16_t maskB = pressed_B;
    while (maskB) {
        int pin = __builtin_ctz(maskB);
        switch (pin) {
            /* Захваты: индикация только в p1/p3, поле p6 не трогаем. */
            case 3:  tjc_send_val("p3", "pic", 21); break;
            case 8:  tjc_send_val("p6", "pic", 2); break;
            case 9:  tjc_send_val("p6", "pic", 3); ResetForcePeak(); break;
            case 12: encoder_btn_pressed = 1; encoder_value = 0; break;
            case 15: tjc_send_val("p1", "pic", 18); break;
        }
        maskB &= (uint16_t)(maskB - 1);  // Сбрасываем младший установленный бит
    }

    /* Все кнопки отпущены (был хотя бы один нажатый -> не осталось ни одного):
       возвращаем исходную картинку в p6 (ID 16). Так отпускание ЛЮБОЙ кнопки
       (порт A: F1/F2/Jog/захваты/возврат/запись нуля/стоп; порт B: захваты,
       защита, пуск, энкодер) возвращает поле в исходное состояние, а не только
       отпускание кнопки энкодера, как было раньше. */
    if (((last_portA | last_portB) != 0U) && ((current_A | current_B) == 0U)) {
        tjc_send_val("p6", "pic", 16);
    }

    last_portA = current_A;
    last_portB = current_B;
}

void ProcessEncoder(uint16_t current_B_raw) {
    uint8_t a = (current_B_raw >> 14) & 1;
    uint8_t b = (current_B_raw >> 13) & 1;
    uint8_t curr_state = (a << 1) | b;

    if (!encoder_initialized) {
        encoder_prev_state = curr_state;
        encoder_initialized = 1;
        return;
    }

    if (curr_state != encoder_prev_state) {
        static uint32_t last_transition_tick = 0;
        uint32_t now = HAL_GetTick();

        // Антидребезг уменьшен до 2 мс (100 мс убивали вращение)
        if (now - last_transition_tick < 2) {
            encoder_prev_state = curr_state;
            return;
        }
        last_transition_tick = now;

        uint8_t transition = (encoder_prev_state << 2) | curr_state;

        switch (transition) {
            case 0b0001: case 0b0111: case 0b1110: case 0b1000:
                if (encoder_value > -5) {
                    encoder_value--;
                    tjc_send_val("p6", "pic", 14);
                }
                break;
            case 0b0010: case 0b1011: case 0b1101: case 0b0100:
                if (encoder_value < 5) {
                    encoder_value++;
                    tjc_send_val("p6", "pic", 5);
                }
                break;
            default:
                /* === ИСПРАВЛЕНИЕ: пропущенный / дрянной переход энкодера.
                   00->11, 11->00 и т. п. = проскок фазы (слишком быстрое вращение
                   или помеха). Считаем в encoder_error_count для диагностики;
                   изменение позиции игнорируем, чтобы не добавлялся «лишний щелчок». */
                if (encoder_error_count < 0xFFFFFFFFU) {
                    encoder_error_count++;
                }
                break;
        }
        // tjc_flush_tx() УБРАНО ОТСЮДА!
        encoder_prev_state = curr_state;
    }
}
/* USER CODE END 4 */

void Error_Handler(void)
{
  /* USER CODE BEGIN Error_Handler_Debug */
    /* User can add his own implementation to report the HAL error return state */
    __disable_irq();

    /* === ИСПРАВЛЕНИЕ: вместо вечного зависания — аппаратный сброс.
       Краткая пауза (десятки миллисекунд циклами), чтобы отладчик успел
       прицепиться при необходимости; затем NVIC_SystemReset() восстанавливает
       работу пульта при случайной ошибке (DMA/UART Init и т. п.). */
    for (volatile uint32_t i = 0U; i < 5000000U; ++i) {
        __NOP();
    }
    NVIC_SystemReset();
  /* USER CODE END Error_Handler_Debug */
}
